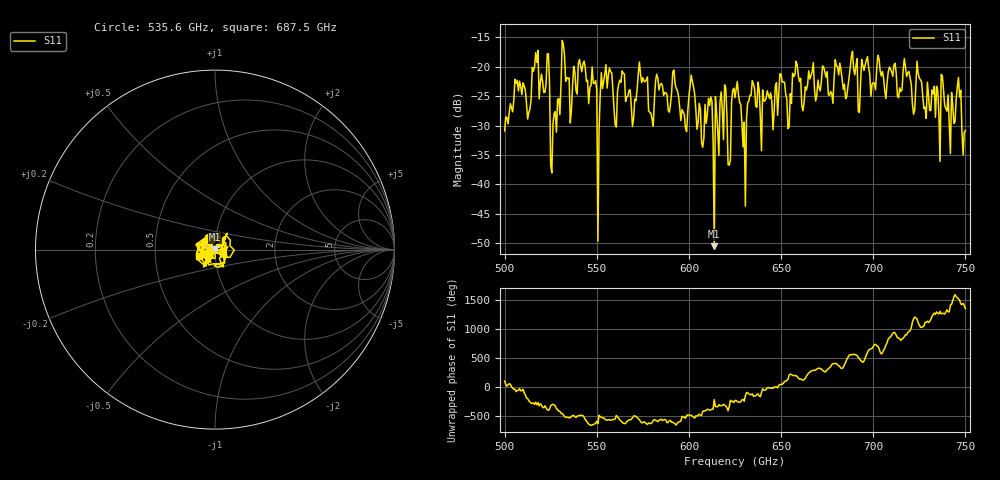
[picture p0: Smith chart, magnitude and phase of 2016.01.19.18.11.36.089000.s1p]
!Created with skrf (http://scikit-rf.org).
# GHz S RI R 50.0
!freq ReS11 ImS11
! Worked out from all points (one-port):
!   401 points, 500 GHz to 750 GHz, reference 50 ohm
!   lowest |S11| = -50.5 dB at 613.8 GHz (marker M1), VSWR 1.01, Z = 49.7 + j0.15 ohm
!   |S11| at or under -10 dB: start of sweep to end of sweep
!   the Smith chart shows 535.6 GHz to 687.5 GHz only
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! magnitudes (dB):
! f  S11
! 500 GHz  -30.9
! 506.9 GHz  -22.3
! 513.1 GHz  -27.8
! 516.9 GHz  -17.6
! 523.1 GHz  -17.8
! 526.2 GHz  -29.7
! 531.2 GHz  -15.5
! 548.8 GHz  -22.8
! 550.6 GHz  -49.6
! 553.8 GHz  -22.5
! 562.5 GHz  -22.3
! 593.8 GHz  -24.1
! 598.1 GHz  -30.4
! 601.9 GHz  -22.5
! 608.1 GHz  -32.1
! 611.2 GHz  -26.6
! 613.8 GHz  -50.5
! 618.8 GHz  -32.4
! 621.9 GHz  -36.7
! 625 GHz  -25.2
! 630 GHz  -29.4
! 634.4 GHz  -22.4
! 656.2 GHz  -21.1
! 687.5 GHz  -20.2
! 718.8 GHz  -21.0
! 742.5 GHz  -24.4
! 746.2 GHz  -21.8
! 750 GHz  -30.8
